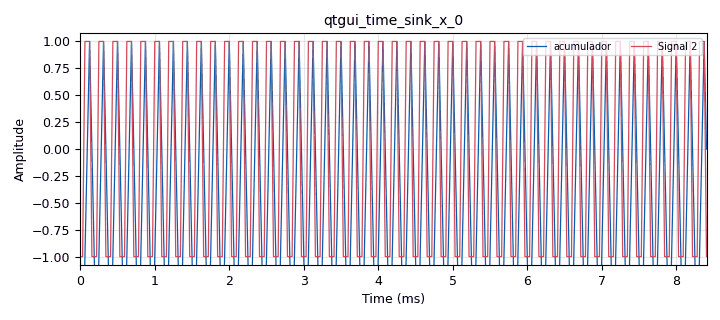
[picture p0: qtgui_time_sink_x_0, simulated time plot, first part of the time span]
options:
  parameters:
    generate_options: qt_gui
    id: untitled
    output_language: python
    title: Not titled yet
  states: {}

blocks:
- name: samp_rate
  id: variable
  parameters:
    value: '32000'
  states: {}
- name: blocks_vector_source_x_0
  id: blocks_vector_source_x
  parameters:
    repeat: 'True'
    type: float
    vector: (1,1,1,-1,-1,-1)
  states: {}
- name: epy_block_1
  id: epy_block
  parameters:
    _source_code: |
      """
      Embedded Python Blocks:

      Each time this file is saved, GRC will instantiate the first class it finds
      to get ports and parameters of your block. The arguments to __init__  will
      be the parameters. All of them are required to have default values!
      """

      import numpy as np
      from gnuradio import gr


      class blk(gr.sync_block):

          def __init__(self):  # only default arguments here
              gr.sync_block.__init__(
                  self,
                  name='e_Acum',   # will show up in GRC
                  in_sig=[np.float32],
                  out_sig=[np.float32]
              )

          def work(self, input_items, output_items):
              
              x = input_items[0]
              y0 = output_items[0]
              
              y0[:] = np.cumsum(x)
              return len(y0)
  states: {}
- name: qtgui_time_sink_x_0
  id: qtgui_time_sink_x
  parameters:
    label1: acumulador
    nconnections: '2'
    size: '1024'
    srate: samp_rate
    type: float
  states: {}

connections:
- [blocks_vector_source_x_0, '0', epy_block_1, '0']
- [blocks_vector_source_x_0, '0', qtgui_time_sink_x_0, '1']
- [epy_block_1, '0', qtgui_time_sink_x_0, '0']

metadata:
  file_format: 1
  grc_version: v3.10.11.0-89-ga17f69e7
